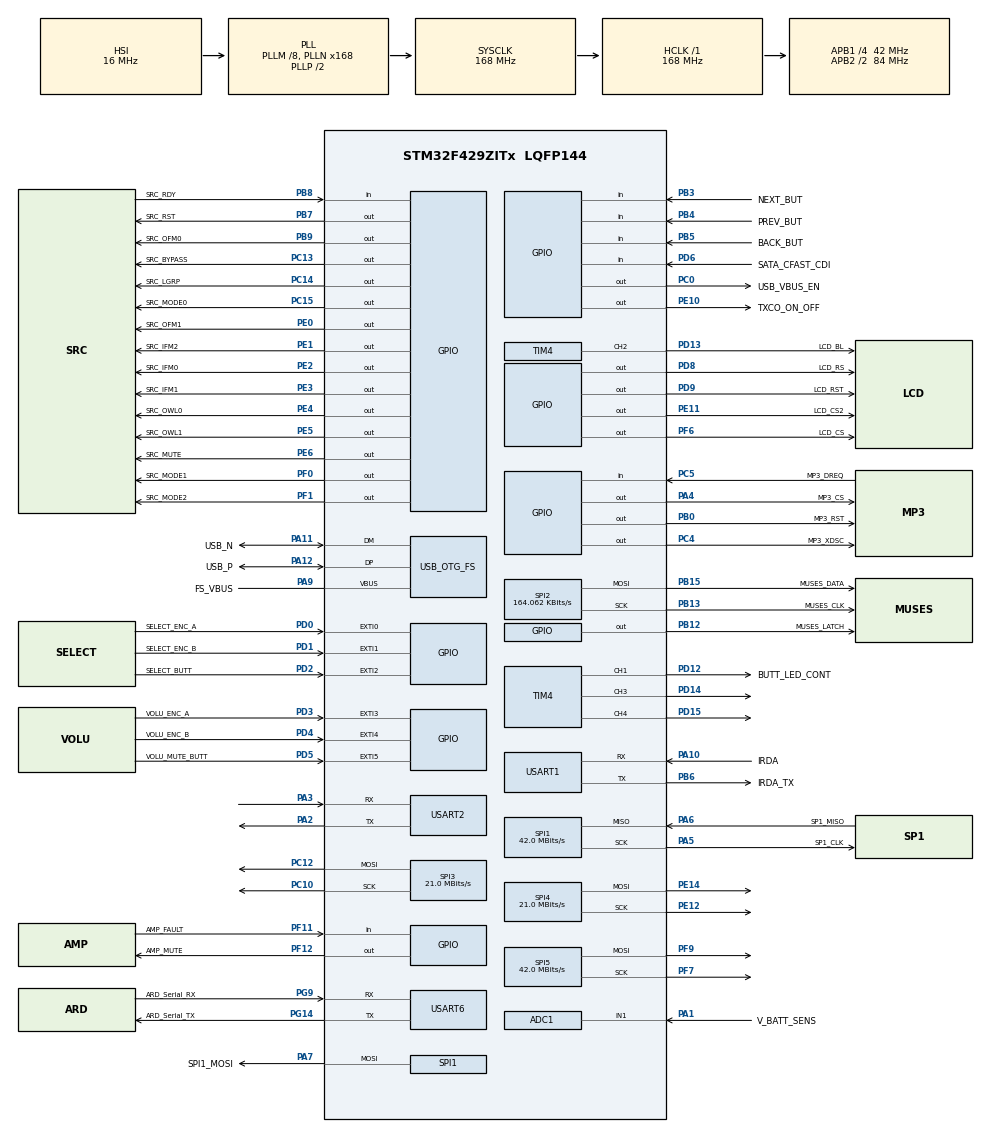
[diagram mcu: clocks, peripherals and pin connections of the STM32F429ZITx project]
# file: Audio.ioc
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ADC1.Channel-0\#ChannelRegularConversion=ADC_CHANNEL_1
ADC1.NbrOfConversionFlag=1
ADC1.Rank-0\#ChannelRegularConversion=1
ADC1.SamplingTime-0\#ChannelRegularConversion=ADC_SAMPLETIME_3CYCLES
ADC1.master=1
FATFS._FS_EXFAT=1
FATFS._MAX_SS=4096
FATFS._USE_LFN=3
FREERTOS.Tasks01=defaultTask,0,2048,StartDefaultTask,Default,NULL,Dynamic,NULL,NULL;lvglTimerTask,0,1024,lvglTimer,Default,NULL,Dynamic,NULL,NULL;lvglTickTask,0,1024,lvglTick,Default,NULL,Dynamic,NULL,NULL
FREERTOS.configCHECK_FOR_STACK_OVERFLOW=0
FREERTOS.configTOTAL_HEAP_SIZE=27000
FREERTOS.configUSE_NEWLIB_REENTRANT=1
FREERTOS.configUSE_TASK_NOTIFICATIONS=1
Mcu.Family=STM32F4
Mcu.Name=STM32F429ZITx
Mcu.Package=LQFP144
NVIC.EXTI0_IRQn=true\:5\:0\:false\:false\:true\:true\:true\:true\:true
NVIC.EXTI1_IRQn=true\:5\:0\:false\:false\:true\:true\:true\:true\:true
NVIC.EXTI2_IRQn=true\:5\:0\:false\:false\:true\:true\:true\:true\:true
NVIC.EXTI3_IRQn=true\:5\:0\:false\:false\:true\:true\:true\:true\:true
NVIC.EXTI4_IRQn=true\:5\:0\:false\:false\:true\:true\:true\:true\:true
NVIC.EXTI9_5_IRQn=true\:5\:0\:false\:false\:true\:true\:true\:true\:true
NVIC.OTG_FS_IRQn=true\:5\:0\:false\:false\:true\:true\:false\:true\:true
NVIC.PriorityGroup=NVIC_PRIORITYGROUP_4
NVIC.TIM1_UP_TIM10_IRQn=true\:15\:0\:false\:false\:true\:false\:false\:true\:true
NVIC.TimeBase=TIM1_UP_TIM10_IRQn
NVIC.TimeBaseIP=TIM1
PA0/WKUP.Mode=SYS_WakeUp0
PA0/WKUP.Signal=SYS_WKUP
PA1.GPIO_Label=V_BATT_SENS
PA1.Signal=ADCx_IN1
PA10.GPIO_Label=IRDA
PA10.Mode=IrDA
PA10.Signal=USART1_RX
PA11.GPIO_Label=USB_N
PA11.Mode=Host_Only
PA11.Signal=USB_OTG_FS_DM
PA12.GPIO_Label=USB_P
PA12.Mode=Host_Only
PA12.Signal=USB_OTG_FS_DP
PA13.GPIO_Label=SWDIO
PA13.Mode=Serial_Wire
PA13.Signal=SYS_JTMS-SWDIO
PA14.GPIO_Label=SWCLK
PA14.Mode=Serial_Wire
PA14.Signal=SYS_JTCK-SWCLK
PA15.GPIO_Label=ST_I2S_LR
PA15.Signal=I2S3_WS
PA2.Mode=Asynchronous
PA2.Signal=USART2_TX
PA3.Mode=Asynchronous
PA3.Signal=USART2_RX
PA4.GPIO_Label=MP3_CS 
PA4.PinState=GPIO_PIN_SET
PA4.Signal=GPIO_Output
PA5.GPIO_Label=SP1_CLK
PA5.Mode=Full_Duplex_Master
PA5.Signal=SPI1_SCK
PA6.GPIO_Label=SP1_MISO
PA6.Mode=Full_Duplex_Master
PA6.Signal=SPI1_MISO
PA7.GPIO_Label=SPI1_MOSI
PA7.Mode=Full_Duplex_Master
PA7.Signal=SPI1_MOSI
PA9.GPIO_Label=FS_VBUS
PA9.Mode=Activate_VBUS
PA9.Signal=USB_OTG_FS_VBUS
PB0.GPIO_Label=MP3_RST
PB0.PinState=GPIO_PIN_SET
PB0.Signal=GPIO_Output
PB12.GPIO_Label=MUSES_LATCH
PB12.PinState=GPIO_PIN_SET
PB12.Signal=GPIO_Output
PB13.GPIO_Label=MUSES_CLK
PB13.Mode=TX_Only_Simplex_Unidirect_Master
PB13.Signal=SPI2_SCK
PB15.GPIO_Label=MUSES_DATA
PB15.Mode=TX_Only_Simplex_Unidirect_Master
PB15.Signal=SPI2_MOSI
PB3.GPIO_Label=NEXT_BUT
PB3.GPIO_PuPd=GPIO_PULLUP
PB3.Signal=GPIO_Input
PB4.GPIO_Label=PREV_BUT
PB4.GPIO_PuPd=GPIO_PULLUP
PB4.Signal=GPIO_Input
PB5.GPIO_Label=BACK_BUT
PB5.GPIO_PuPd=GPIO_PULLUP
PB5.Signal=GPIO_Input
PB6.GPIO_Label=IRDA_TX
PB6.Mode=IrDA
PB6.Signal=USART1_TX
PB7.GPIO_Label=SRC_RST
PB7.PinState=GPIO_PIN_SET
PB7.Signal=GPIO_Output
PB8.GPIO_Label=SRC_RDY
PB8.Signal=GPIO_Input
PB9.GPIO_Label=SRC_OFM0
PB9.Signal=GPIO_Output
PC0.GPIO_Label=USB_VBUS_EN
PC0.Signal=GPIO_Output
PC10.Mode=TX_Only_Simplex_Unidirect_Master
PC10.Signal=SPI3_SCK
PC12.Mode=TX_Only_Simplex_Unidirect_Master
PC12.Signal=SPI3_MOSI
PC13.GPIO_Label=SRC_BYPASS
PC13.Signal=GPIO_Output
PC14/OSC32_IN.GPIO_Label=SRC_LGRP
PC14/OSC32_IN.Signal=GPIO_Output
PC15/OSC32_OUT.GPIO_Label=SRC_MODE0
PC15/OSC32_OUT.Signal=GPIO_Output
PC4.GPIO_Label=MP3_XDSC
PC4.Signal=GPIO_Output
PC5.GPIO_Label=MP3_DREQ
PC5.Signal=GPIO_Input
PD0.GPIO_Label=SELECT_ENC_A
PD0.GPIO_ModeDefaultEXTI=GPIO_MODE_IT_RISING_FALLING
PD0.GPIO_PuPd=GPIO_PULLUP
PD0.Signal=GPXTI0
PD1.GPIO_Label=SELECT_ENC_B
PD1.GPIO_ModeDefaultEXTI=GPIO_MODE_IT_RISING_FALLING
PD1.GPIO_PuPd=GPIO_PULLUP
PD1.Signal=GPXTI1
PD12.GPIO_Label=BUTT_LED_CONT
PD12.Signal=S_TIM4_CH1
PD13.GPIO_Label=LCD_BL
PD13.Signal=S_TIM4_CH2
PD14.Signal=S_TIM4_CH3
PD15.Signal=S_TIM4_CH4
PD2.GPIO_Label=SELECT_BUTT
PD2.GPIO_ModeDefaultEXTI=GPIO_MODE_IT_RISING_FALLING
PD2.GPIO_PuPd=GPIO_PULLUP
PD2.Signal=GPXTI2
PD3.GPIO_Label=VOLU_ENC_A
PD3.GPIO_ModeDefaultEXTI=GPIO_MODE_IT_RISING_FALLING
PD3.GPIO_PuPd=GPIO_PULLUP
PD3.Signal=GPXTI3
PD4.GPIO_Label=VOLU_ENC_B
PD4.GPIO_ModeDefaultEXTI=GPIO_MODE_IT_RISING_FALLING
PD4.GPIO_PuPd=GPIO_PULLUP
PD4.Signal=GPXTI4
PD5.GPIO_Label=VOLU_MUTE_BUTT
PD5.GPIO_ModeDefaultEXTI=GPIO_MODE_IT_RISING_FALLING
PD5.GPIO_PuPd=GPIO_PULLUP
PD5.Signal=GPXTI5
PD6.GPIO_Label=SATA_CFAST_CDI
PD6.Signal=GPIO_Input
PD8.GPIO_Label=LCD_RS
PD8.PinState=GPIO_PIN_SET
PD8.Signal=GPIO_Output
PD9.GPIO_Label=LCD_RST
PD9.PinState=GPIO_PIN_SET
PD9.Signal=GPIO_Output
PE0.GPIO_Label=SRC_OFM1
PE0.Signal=GPIO_Output
PE1.GPIO_Label=SRC_IFM2
PE1.Signal=GPIO_Output
PE10.GPIO_Label=TXCO_ON_OFF
PE10.Signal=GPIO_Output
PE11.GPIO_Label=LCD_CS2
PE11.PinState=GPIO_PIN_SET
PE11.Signal=GPIO_Output
PE12.Mode=TX_Only_Simplex_Unidirect_Master
PE12.Signal=SPI4_SCK
PE14.Mode=TX_Only_Simplex_Unidirect_Master
PE14.Signal=SPI4_MOSI
PE2.GPIO_Label=SRC_IFM0
PE2.Signal=GPIO_Output
PE3.GPIO_Label=SRC_IFM1
PE3.Signal=GPIO_Output
PE4.GPIO_Label=SRC_OWL0
PE4.Signal=GPIO_Output
PE5.GPIO_Label=SRC_OWL1
PE5.Signal=GPIO_Output
PE6.GPIO_Label=SRC_MUTE
PE6.Signal=GPIO_Output
PF0.GPIO_Label=SRC_MODE1
PF0.Signal=GPIO_Output
PF1.GPIO_Label=SRC_MODE2
PF1.Signal=GPIO_Output
PF11.GPIO_Label=AMP_FAULT
PF11.Signal=GPIO_Input
PF12.GPIO_Label=AMP_MUTE
PF12.PinState=GPIO_PIN_SET
PF12.Signal=GPIO_Output
PF6.GPIO_Label=LCD_CS
PF6.PinState=GPIO_PIN_SET
PF6.Signal=GPIO_Output
PF7.Mode=TX_Only_Simplex_Unidirect_Master
PF7.Signal=SPI5_SCK
PF9.Mode=TX_Only_Simplex_Unidirect_Master
PF9.Signal=SPI5_MOSI
PG14.GPIO_Label=ARD_Serial_TX
PG14.Mode=Asynchronous
PG14.Signal=USART6_TX
PG9.GPIO_Label=ARD_Serial_RX
PG9.Mode=Asynchronous
PG9.Signal=USART6_RX
PH0/OSC_IN.Mode=HSE-External-Oscillator
PH0/OSC_IN.Signal=RCC_OSC_IN
PH1/OSC_OUT.Mode=HSE-External-Oscillator
PH1/OSC_OUT.Signal=RCC_OSC_OUT
ProjectManager.HeapSize=0x1000
ProjectManager.StackSize=0x1000
ProjectManager.TargetToolchain=STM32CubeIDE
RCC.48MHZClocksFreq_Value=48000000
RCC.AHBFreq_Value=168000000
RCC.APB1CLKDivider=RCC_HCLK_DIV4
RCC.APB1Freq_Value=42000000
RCC.APB1TimFreq_Value=84000000
RCC.APB2CLKDivider=RCC_HCLK_DIV2
RCC.APB2Freq_Value=84000000
RCC.APB2TimFreq_Value=168000000
RCC.CortexFreq_Value=168000000
RCC.HCLKFreq_Value=168000000
RCC.HSE_VALUE=8000000
RCC.HSI_VALUE=16000000
RCC.LSE_VALUE=32768
RCC.PLLM=8
RCC.PLLMUL=RCC_PLL_MUL9
RCC.PLLN=168
RCC.PLLQ=7
RCC.PLLSource=RCC_PLLSOURCE_HSI
RCC.PRESCALERUSB=RCC_USBCLKSOURCE_PLL_DIV1_5
RCC.SYSCLKFreq_VALUE=168000000
RCC.SYSCLKSource=RCC_SYSCLKSOURCE_PLLCLK
RCC.SYSCLKSourceVirtual=RCC_SYSCLKSOURCE_PLLCLK
RCC.USBFreq_Value=48000000
RCC.VCOOutputFreq_Value=336000000
SH.ADCx_IN1.0=ADC1_IN1,IN1
SH.S_TIM4_CH1.0=TIM4_CH1,PWM Generation1 CH1
SH.S_TIM4_CH2.0=TIM4_CH2,PWM Generation2 CH2
SH.S_TIM4_CH3.0=TIM4_CH3,PWM Generation3 CH3
SH.S_TIM4_CH4.0=TIM4_CH4,PWM Generation4 CH4
SPI1.BaudRatePrescaler=SPI_BAUDRATEPRESCALER_2
SPI1.CalculateBaudRate=42.0 MBits/s
SPI1.Direction=SPI_DIRECTION_2LINES
SPI1.Mode=SPI_MODE_MASTER
SPI1.VirtualType=VM_MASTER
SPI2.BaudRatePrescaler=SPI_BAUDRATEPRESCALER_256
SPI2.CLKPolarity=SPI_POLARITY_HIGH
SPI2.CalculateBaudRate=164.062 KBits/s
SPI2.DataSize=SPI_DATASIZE_16BIT
SPI2.Direction=SPI_DIRECTION_2LINES
SPI2.Mode=SPI_MODE_MASTER
SPI2.VirtualType=VM_MASTER
SPI3.CLKPolarity=SPI_POLARITY_HIGH
SPI3.CalculateBaudRate=21.0 MBits/s
SPI3.Direction=SPI_DIRECTION_2LINES
SPI3.Mode=SPI_MODE_MASTER
SPI3.VirtualType=VM_MASTER
SPI4.BaudRatePrescaler=SPI_BAUDRATEPRESCALER_4
SPI4.CalculateBaudRate=21.0 MBits/s
SPI4.Direction=SPI_DIRECTION_2LINES
SPI4.Mode=SPI_MODE_MASTER
SPI4.VirtualType=VM_MASTER
SPI5.CalculateBaudRate=42.0 MBits/s
SPI5.Direction=SPI_DIRECTION_2LINES
SPI5.Mode=SPI_MODE_MASTER
SPI5.VirtualType=VM_MASTER
TIM4.Channel-PWM\ Generation1\ CH1=TIM_CHANNEL_1
TIM4.Channel-PWM\ Generation2\ CH2=TIM_CHANNEL_2
TIM4.Channel-PWM\ Generation3\ CH3=TIM_CHANNEL_3
TIM4.Channel-PWM\ Generation4\ CH4=TIM_CHANNEL_4
TIM4.OC1Preload_PWM=ENABLE
USART1.VirtualMode=VM_IRDA
USART2.VirtualMode=VM_ASYNC
USART6.VirtualMode=VM_ASYNC
USB_HOST.SW_VBUS_DRIVE_MSC_FS=true
USB_HOST.USBH_HandleTypeDef-MSC_FS=hUsbHostFS
USB_HOST.USBH_PROCESS_STACK_SIZE-MSC_FS=512
USB_HOST.USBH_USE_OS-MSC_FS=0
USB_HOST.VirtualModeFS=Msc
USB_OTG_FS.VirtualMode=Host_Only
USB_OTG_FS.phy_itface=HCD_PHY_EMBEDDED
VP_FATFS_VS_USB.Mode=USB
VP_FREERTOS_VS_CMSIS_V1.Mode=CMSIS_V1
VP_SYS_VS_tim1.Mode=TIM1
VP_TIM4_VS_ClockSourceINT.Mode=Internal
VP_USB_HOST_VS_USB_HOST_MSC_FS.Mode=MSC_FS
board=NUCLEO-F429ZI

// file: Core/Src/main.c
/* USER CODE BEGIN Header */
/**
 ******************************************************************************
 * @file           : main.c
 * @brief          : Main program body
 ******************************************************************************
 * @attention
 *
 * Copyright (c) 2025 STMicroelectronics.
 * All rights reserved.
 *
 * This software is licensed under terms that can be found in the LICENSE file
 * in the root directory of this software component.
 * If no LICENSE file comes with this software, it is provided AS-IS.
 *
 ******************************************************************************
 */
/* USER CODE END Header */
#include "main.h"
#include "cmsis_os.h"
#include "fatfs.h"
#include "usb_host.h"

/* USER CODE BEGIN Includes */
#include "encoder.h"
#include "states.h"
#include "inputs.h"
#include "lvgl.h"
/* USER CODE END Includes */

ADC_HandleTypeDef hadc1;

SPI_HandleTypeDef hspi1;
SPI_HandleTypeDef hspi2;
SPI_HandleTypeDef hspi3;
SPI_HandleTypeDef hspi4;
SPI_HandleTypeDef hspi5;

TIM_HandleTypeDef htim4;

IRDA_HandleTypeDef hirda1;
UART_HandleTypeDef huart2;
UART_HandleTypeDef huart6;

osThreadId defaultTaskHandle;
osThreadId lvglTimerTaskHandle;
osThreadId lvglTickTaskHandle;

void SystemClock_Config(void);
static void MX_GPIO_Init(void);
static void MX_SPI1_Init(void);
static void MX_USART6_UART_Init(void);
static void MX_ADC1_Init(void);
static void MX_SPI2_Init(void);
static void MX_TIM4_Init(void);
static void MX_USART1_IRDA_Init(void);
static void MX_USART2_UART_Init(void);
static void MX_SPI4_Init(void);
static void MX_SPI3_Init(void);
static void MX_SPI5_Init(void);
void StartDefaultTask(void const * argument);
void lvglTimer(void const * argument);
void lvglTick(void const * argument);

int main(void)
{

  /* MCU Configuration--------------------------------------------------------*/

  /* Reset of all peripherals, Initializes the Flash interface and the Systick. */
  HAL_Init();

  /* Configure the system clock */
  SystemClock_Config();

  /* Initialize all configured peripherals */
  MX_GPIO_Init();
  MX_SPI1_Init();
  MX_USART6_UART_Init();
  MX_FATFS_Init();
  MX_ADC1_Init();
  MX_SPI2_Init();
  MX_TIM4_Init();
  MX_USART1_IRDA_Init();
  MX_USART2_UART_Init();
  MX_SPI4_Init();
  MX_SPI3_Init();
  MX_SPI5_Init();

  /* Create the thread(s) */
  /* definition and creation of defaultTask */
  osThreadDef(defaultTask, StartDefaultTask, osPriorityNormal, 0, 2048);
  defaultTaskHandle = osThreadCreate(osThread(defaultTask), NULL);

  /* definition and creation of lvglTimerTask */
  osThreadDef(lvglTimerTask, lvglTimer, osPriorityNormal, 0, 1024);
  lvglTimerTaskHandle = osThreadCreate(osThread(lvglTimerTask), NULL);

  /* definition and creation of lvglTickTask */
  osThreadDef(lvglTickTask, lvglTick, osPriorityNormal, 0, 1024);
  lvglTickTaskHandle = osThreadCreate(osThread(lvglTickTask), NULL);

  /* Start scheduler */
  osKernelStart();

  /* We should never get here as control is now taken by the scheduler */

  /* Infinite loop */
  while (1)
  {

    /* USER CODE BEGIN 3 */

    // Process state machine events

  }
  /* USER CODE END 3 */
}

void SystemClock_Config(void)
{
  RCC_OscInitTypeDef RCC_OscInitStruct = {0};
  RCC_ClkInitTypeDef RCC_ClkInitStruct = {0};

  /** Configure the main internal regulator output voltage
  */
  __HAL_RCC_PWR_CLK_ENABLE();
  __HAL_PWR_VOLTAGESCALING_CONFIG(PWR_REGULATOR_VOLTAGE_SCALE1);

  /** Initializes the RCC Oscillators according to the specified parameters
  * in the RCC_OscInitTypeDef structure.
  */
  RCC_OscInitStruct.OscillatorType = RCC_OSCILLATORTYPE_HSI;
  RCC_OscInitStruct.HSIState = RCC_HSI_ON;
  RCC_OscInitStruct.HSICalibrationValue = RCC_HSICALIBRATION_DEFAULT;
  RCC_OscInitStruct.PLL.PLLState = RCC_PLL_ON;
  RCC_OscInitStruct.PLL.PLLSource = RCC_PLLSOURCE_HSI;
  RCC_OscInitStruct.PLL.PLLM = 8;
  RCC_OscInitStruct.PLL.PLLN = 168;
  RCC_OscInitStruct.PLL.PLLP = RCC_PLLP_DIV2;
  RCC_OscInitStruct.PLL.PLLQ = 7;
  if (HAL_RCC_OscConfig(&RCC_OscInitStruct) != HAL_OK)
  {
    Error_Handler();
  }

  /** Initializes the CPU, AHB and APB buses clocks
  */
  RCC_ClkInitStruct.ClockType = RCC_CLOCKTYPE_HCLK|RCC_CLOCKTYPE_SYSCLK
                              |RCC_CLOCKTYPE_PCLK1|RCC_CLOCKTYPE_PCLK2;
  RCC_ClkInitStruct.SYSCLKSource = RCC_SYSCLKSOURCE_PLLCLK;
  RCC_ClkInitStruct.AHBCLKDivider = RCC_SYSCLK_DIV1;
  RCC_ClkInitStruct.APB1CLKDivider = RCC_HCLK_DIV4;
  RCC_ClkInitStruct.APB2CLKDivider = RCC_HCLK_DIV2;

  if (HAL_RCC_ClockConfig(&RCC_ClkInitStruct, FLASH_LATENCY_5) != HAL_OK)
  {
    Error_Handler();
  }
}

static void MX_ADC1_Init(void)
{

  ADC_ChannelConfTypeDef sConfig = {0};

  /** Configure the global features of the ADC (Clock, Resolution, Data Alignment and number of conversion)
  */
  hadc1.Instance = ADC1;
  hadc1.Init.ClockPrescaler = ADC_CLOCK_SYNC_PCLK_DIV4;
  hadc1.Init.Resolution = ADC_RESOLUTION_12B;
  hadc1.Init.ScanConvMode = DISABLE;
  hadc1.Init.ContinuousConvMode = DISABLE;
  hadc1.Init.DiscontinuousConvMode = DISABLE;
  hadc1.Init.ExternalTrigConvEdge = ADC_EXTERNALTRIGCONVEDGE_NONE;
  hadc1.Init.ExternalTrigConv = ADC_SOFTWARE_START;
  hadc1.Init.DataAlign = ADC_DATAALIGN_RIGHT;
  hadc1.Init.NbrOfConversion = 1;
  hadc1.Init.DMAContinuousRequests = DISABLE;
  hadc1.Init.EOCSelection = ADC_EOC_SINGLE_CONV;
  if (HAL_ADC_Init(&hadc1) != HAL_OK)
  {
    Error_Handler();
  }

  /** Configure for the selected ADC regular channel its corresponding rank in the sequencer and its sample time.
  */
  sConfig.Channel = ADC_CHANNEL_1;
  sConfig.Rank = 1;
  sConfig.SamplingTime = ADC_SAMPLETIME_3CYCLES;
  if (HAL_ADC_ConfigChannel(&hadc1, &sConfig) != HAL_OK)
  {
    Error_Handler();
  }

}

static void MX_SPI1_Init(void)
{

  /* SPI1 parameter configuration*/
  hspi1.Instance = SPI1;
  hspi1.Init.Mode = SPI_MODE_MASTER;
  hspi1.Init.Direction = SPI_DIRECTION_2LINES;
  hspi1.Init.DataSize = SPI_DATASIZE_8BIT;
  hspi1.Init.CLKPolarity = SPI_POLARITY_LOW;
  hspi1.Init.CLKPhase = SPI_PHASE_1EDGE;
  hspi1.Init.NSS = SPI_NSS_SOFT;
  hspi1.Init.BaudRatePrescaler = SPI_BAUDRATEPRESCALER_2;
  hspi1.Init.FirstBit = SPI_FIRSTBIT_MSB;
  hspi1.Init.TIMode = SPI_TIMODE_DISABLE;
  hspi1.Init.CRCCalculation = SPI_CRCCALCULATION_DISABLE;
  hspi1.Init.CRCPolynomial = 10;
  if (HAL_SPI_Init(&hspi1) != HAL_OK)
  {
    Error_Handler();
  }

}

static void MX_SPI2_Init(void)
{

  /* SPI2 parameter configuration*/
  hspi2.Instance = SPI2;
  hspi2.Init.Mode = SPI_MODE_MASTER;
  hspi2.Init.Direction = SPI_DIRECTION_2LINES;
  hspi2.Init.DataSize = SPI_DATASIZE_16BIT;
  hspi2.Init.CLKPolarity = SPI_POLARITY_HIGH;
  hspi2.Init.CLKPhase = SPI_PHASE_1EDGE;
  hspi2.Init.NSS = SPI_NSS_SOFT;
  hspi2.Init.BaudRatePrescaler = SPI_BAUDRATEPRESCALER_256;
  hspi2.Init.FirstBit = SPI_FIRSTBIT_MSB;
  hspi2.Init.TIMode = SPI_TIMODE_DISABLE;
  hspi2.Init.CRCCalculation = SPI_CRCCALCULATION_DISABLE;
  hspi2.Init.CRCPolynomial = 10;
  if (HAL_SPI_Init(&hspi2) != HAL_OK)
  {
    Error_Handler();
  }

}

static void MX_SPI3_Init(void)
{

  /* SPI3 parameter configuration*/
  hspi3.Instance = SPI3;
  hspi3.Init.Mode = SPI_MODE_MASTER;
  hspi3.Init.Direction = SPI_DIRECTION_2LINES;
  hspi3.Init.DataSize = SPI_DATASIZE_8BIT;
  hspi3.Init.CLKPolarity = SPI_POLARITY_HIGH;
  hspi3.Init.CLKPhase = SPI_PHASE_1EDGE;
  hspi3.Init.NSS = SPI_NSS_SOFT;
  hspi3.Init.BaudRatePrescaler = SPI_BAUDRATEPRESCALER_2;
  hspi3.Init.FirstBit = SPI_FIRSTBIT_MSB;
  hspi3.Init.TIMode = SPI_TIMODE_DISABLE;
  hspi3.Init.CRCCalculation = SPI_CRCCALCULATION_DISABLE;
  hspi3.Init.CRCPolynomial = 10;
  if (HAL_SPI_Init(&hspi3) != HAL_OK)
  {
    Error_Handler();
  }

}

static void MX_SPI4_Init(void)
{

  /* SPI4 parameter configuration*/
  hspi4.Instance = SPI4;
  hspi4.Init.Mode = SPI_MODE_MASTER;
  hspi4.Init.Direction = SPI_DIRECTION_2LINES;
  hspi4.Init.DataSize = SPI_DATASIZE_8BIT;
  hspi4.Init.CLKPolarity = SPI_POLARITY_LOW;
  hspi4.Init.CLKPhase = SPI_PHASE_1EDGE;
  hspi4.Init.NSS = SPI_NSS_SOFT;
  hspi4.Init.BaudRatePrescaler = SPI_BAUDRATEPRESCALER_4;
  hspi4.Init.FirstBit = SPI_FIRSTBIT_MSB;
  hspi4.Init.TIMode = SPI_TIMODE_DISABLE;
  hspi4.Init.CRCCalculation = SPI_CRCCALCULATION_DISABLE;
  hspi4.Init.CRCPolynomial = 10;
  if (HAL_SPI_Init(&hspi4) != HAL_OK)
  {
    Error_Handler();
  }

}

static void MX_SPI5_Init(void)
{

  /* SPI5 parameter configuration*/
  hspi5.Instance = SPI5;
  hspi5.Init.Mode = SPI_MODE_MASTER;
  hspi5.Init.Direction = SPI_DIRECTION_2LINES;
  hspi5.Init.DataSize = SPI_DATASIZE_8BIT;
  hspi5.Init.CLKPolarity = SPI_POLARITY_LOW;
  hspi5.Init.CLKPhase = SPI_PHASE_1EDGE;
  hspi5.Init.NSS = SPI_NSS_SOFT;
  hspi5.Init.BaudRatePrescaler = SPI_BAUDRATEPRESCALER_2;
  hspi5.Init.FirstBit = SPI_FIRSTBIT_MSB;
  hspi5.Init.TIMode = SPI_TIMODE_DISABLE;
  hspi5.Init.CRCCalculation = SPI_CRCCALCULATION_DISABLE;
  hspi5.Init.CRCPolynomial = 10;
  if (HAL_SPI_Init(&hspi5) != HAL_OK)
  {
    Error_Handler();
  }

}

static void MX_TIM4_Init(void)
{

  TIM_ClockConfigTypeDef sClockSourceConfig = {0};
  TIM_MasterConfigTypeDef sMasterConfig = {0};
  TIM_OC_InitTypeDef sConfigOC = {0};

  htim4.Instance = TIM4;
  htim4.Init.Prescaler = 0;
  htim4.Init.CounterMode = TIM_COUNTERMODE_UP;
  htim4.Init.Period = 65535;
  htim4.Init.ClockDivision = TIM_CLOCKDIVISION_DIV1;
  htim4.Init.AutoReloadPreload = TIM_AUTORELOAD_PRELOAD_DISABLE;
  if (HAL_TIM_Base_Init(&htim4) != HAL_OK)
  {
    Error_Handler();
  }
  sClockSourceConfig.ClockSource = TIM_CLOCKSOURCE_INTERNAL;
  if (HAL_TIM_ConfigClockSource(&htim4, &sClockSourceConfig) != HAL_OK)
  {
    Error_Handler();
  }
  if (HAL_TIM_PWM_Init(&htim4) != HAL_OK)
  {
    Error_Handler();
  }
  sMasterConfig.MasterOutputTrigger = TIM_TRGO_RESET;
  sMasterConfig.MasterSlaveMode = TIM_MASTERSLAVEMODE_DISABLE;
  if (HAL_TIMEx_MasterConfigSynchronization(&htim4, &sMasterConfig) != HAL_OK)
  {
    Error_Handler();
  }
  sConfigOC.OCMode = TIM_OCMODE_PWM1;
  sConfigOC.Pulse = 0;
  sConfigOC.OCPolarity = TIM_OCPOLARITY_HIGH;
  sConfigOC.OCFastMode = TIM_OCFAST_DISABLE;
  if (HAL_TIM_PWM_ConfigChannel(&htim4, &sConfigOC, TIM_CHANNEL_1) != HAL_OK)
  {
    Error_Handler();
  }
  if (HAL_TIM_PWM_ConfigChannel(&htim4, &sConfigOC, TIM_CHANNEL_2) != HAL_OK)
  {
    Error_Handler();
  }
  if (HAL_TIM_PWM_ConfigChannel(&htim4, &sConfigOC, TIM_CHANNEL_3) != HAL_OK)
  {
    Error_Handler();
  }
  if (HAL_TIM_PWM_ConfigChannel(&htim4, &sConfigOC, TIM_CHANNEL_4) != HAL_OK)
  {
    Error_Handler();
  }
  HAL_TIM_MspPostInit(&htim4);

}

static void MX_USART1_IRDA_Init(void)
{

  hirda1.Instance = USART1;
  hirda1.Init.BaudRate = 115200;
  hirda1.Init.WordLength = IRDA_WORDLENGTH_8B;
  hirda1.Init.Parity = IRDA_PARITY_NONE;
  hirda1.Init.Mode = IRDA_MODE_TX_RX;
  hirda1.Init.Prescaler = 1;
  hirda1.Init.IrDAMode = IRDA_POWERMODE_NORMAL;
  if (HAL_IRDA_Init(&hirda1) != HAL_OK)
  {
    Error_Handler();
  }

}

static void MX_USART2_UART_Init(void)
{

  huart2.Instance = USART2;
  huart2.Init.BaudRate = 115200;
  huart2.Init.WordLength = UART_WORDLENGTH_8B;
  huart2.Init.StopBits = UART_STOPBITS_1;
  huart2.Init.Parity = UART_PARITY_NONE;
  huart2.Init.Mode = UART_MODE_TX_RX;
  huart2.Init.HwFlowCtl = UART_HWCONTROL_NONE;
  huart2.Init.OverSampling = UART_OVERSAMPLING_16;
  if (HAL_UART_Init(&huart2) != HAL_OK)
  {
    Error_Handler();
  }

}

static void MX_USART6_UART_Init(void)
{

  huart6.Instance = USART6;
  huart6.Init.BaudRate = 115200;
  huart6.Init.WordLength = UART_WORDLENGTH_8B;
  huart6.Init.StopBits = UART_STOPBITS_1;
  huart6.Init.Parity = UART_PARITY_NONE;
  huart6.Init.Mode = UART_MODE_TX_RX;
  huart6.Init.HwFlowCtl = UART_HWCONTROL_NONE;
  huart6.Init.OverSampling = UART_OVERSAMPLING_16;
  if (HAL_UART_Init(&huart6) != HAL_OK)
  {
    Error_Handler();
  }

}

static void MX_GPIO_Init(void)
{
  GPIO_InitTypeDef GPIO_InitStruct = {0};

  /* GPIO Ports Clock Enable */
  __HAL_RCC_GPIOE_CLK_ENABLE();
  __HAL_RCC_GPIOC_CLK_ENABLE();
  __HAL_RCC_GPIOF_CLK_ENABLE();
  __HAL_RCC_GPIOH_CLK_ENABLE();
  __HAL_RCC_GPIOA_CLK_ENABLE();
  __HAL_RCC_GPIOB_CLK_ENABLE();
  __HAL_RCC_GPIOD_CLK_ENABLE();
  __HAL_RCC_GPIOG_CLK_ENABLE();

  /*Configure GPIO pin Output Level */
  HAL_GPIO_WritePin(GPIOE, SRC_IFM0_Pin|SRC_IFM1_Pin|SRC_OWL0_Pin|SRC_OWL1_Pin
                          |SRC_MUTE_Pin|TXCO_ON_OFF_Pin|SRC_OFM1_Pin|SRC_IFM2_Pin, GPIO_PIN_RESET);

  /*Configure GPIO pin Output Level */
  HAL_GPIO_WritePin(GPIOC, SRC_BYPASS_Pin|SRC_LGRP_Pin|SRC_MODE0_Pin|USB_VBUS_EN_Pin
                          |MP3_XDSC_Pin, GPIO_PIN_RESET);

  /*Configure GPIO pin Output Level */
  HAL_GPIO_WritePin(GPIOF, SRC_MODE1_Pin|SRC_MODE2_Pin, GPIO_PIN_RESET);

  /*Configure GPIO pin Output Level */
  HAL_GPIO_WritePin(GPIOF, LCD_CS_Pin|AMP_MUTE_Pin, GPIO_PIN_SET);

  /*Configure GPIO pin Output Level */
  HAL_GPIO_WritePin(MP3_CS_GPIO_Port, MP3_CS_Pin, GPIO_PIN_SET);

  /*Configure GPIO pin Output Level */
  HAL_GPIO_WritePin(GPIOB, MP3_RST_Pin|MUSES_LATCH_Pin|SRC_RST_Pin, GPIO_PIN_SET);

  /*Configure GPIO pin Output Level */
  HAL_GPIO_WritePin(LCD_CS2_GPIO_Port, LCD_CS2_Pin, GPIO_PIN_SET);

  /*Configure GPIO pin Output Level */
  HAL_GPIO_WritePin(GPIOD, LCD_RS_Pin|LCD_RST_Pin, GPIO_PIN_SET);

  /*Configure GPIO pin Output Level */
  HAL_GPIO_WritePin(SRC_OFM0_GPIO_Port, SRC_OFM0_Pin, GPIO_PIN_RESET);

  /*Configure GPIO pins : SRC_IFM0_Pin SRC_IFM1_Pin SRC_OWL0_Pin SRC_OWL1_Pin
                           SRC_MUTE_Pin TXCO_ON_OFF_Pin LCD_CS2_Pin SRC_OFM1_Pin
                           SRC_IFM2_Pin */
  GPIO_InitStruct.Pin = SRC_IFM0_Pin|SRC_IFM1_Pin|SRC_OWL0_Pin|SRC_OWL1_Pin
                          |SRC_MUTE_Pin|TXCO_ON_OFF_Pin|LCD_CS2_Pin|SRC_OFM1_Pin
                          |SRC_IFM2_Pin;
  GPIO_InitStruct.Mode = GPIO_MODE_OUTPUT_PP;
  GPIO_InitStruct.Pull = GPIO_NOPULL;
  GPIO_InitStruct.Speed = GPIO_SPEED_FREQ_LOW;
  HAL_GPIO_Init(GPIOE, &GPIO_InitStruct);

  /*Configure GPIO pins : SRC_BYPASS_Pin SRC_LGRP_Pin SRC_MODE0_Pin USB_VBUS_EN_Pin
                           MP3_XDSC_Pin */
  GPIO_InitStruct.Pin = SRC_BYPASS_Pin|SRC_LGRP_Pin|SRC_MODE0_Pin|USB_VBUS_EN_Pin
                          |MP3_XDSC_Pin;
  GPIO_InitStruct.Mode = GPIO_MODE_OUTPUT_PP;
  GPIO_InitStruct.Pull = GPIO_NOPULL;
  GPIO_InitStruct.Speed = GPIO_SPEED_FREQ_LOW;
  HAL_GPIO_Init(GPIOC, &GPIO_InitStruct);

  /*Configure GPIO pins : SRC_MODE1_Pin SRC_MODE2_Pin LCD_CS_Pin AMP_MUTE_Pin */
  GPIO_InitStruct.Pin = SRC_MODE1_Pin|SRC_MODE2_Pin|LCD_CS_Pin|AMP_MUTE_Pin;
  GPIO_InitStruct.Mode = GPIO_MODE_OUTPUT_PP;
  GPIO_InitStruct.Pull = GPIO_NOPULL;
  GPIO_InitStruct.Speed = GPIO_SPEED_FREQ_LOW;
  HAL_GPIO_Init(GPIOF, &GPIO_InitStruct);

  /*Configure GPIO pin : MP3_CS_Pin */
  GPIO_InitStruct.Pin = MP3_CS_Pin;
  GPIO_InitStruct.Mode = GPIO_MODE_OUTPUT_PP;
  GPIO_InitStruct.Pull = GPIO_NOPULL;
  GPIO_InitStruct.Speed = GPIO_SPEED_FREQ_LOW;
  HAL_GPIO_Init(MP3_CS_GPIO_Port, &GPIO_InitStruct);

  /*Configure GPIO pin : MP3_DREQ_Pin */
  GPIO_InitStruct.Pin = MP3_DREQ_Pin;
  GPIO_InitStruct.Mode = GPIO_MODE_INPUT;
  GPIO_InitStruct.Pull = GPIO_NOPULL;
  HAL_GPIO_Init(MP3_DREQ_GPIO_Port, &GPIO_InitStruct);

  /*Configure GPIO pins : MP3_RST_Pin MUSES_LATCH_Pin SRC_RST_Pin SRC_OFM0_Pin */
  GPIO_InitStruct.Pin = MP3_RST_Pin|MUSES_LATCH_Pin|SRC_RST_Pin|SRC_OFM0_Pin;
  GPIO_InitStruct.Mode = GPIO_MODE_OUTPUT_PP;
  GPIO_InitStruct.Pull = GPIO_NOPULL;
  GPIO_InitStruct.Speed = GPIO_SPEED_FREQ_LOW;
  HAL_GPIO_Init(GPIOB, &GPIO_InitStruct);

  /*Configure GPIO pin : AMP_FAULT_Pin */
  GPIO_InitStruct.Pin = AMP_FAULT_Pin;
  GPIO_InitStruct.Mode = GPIO_MODE_INPUT;
  GPIO_InitStruct.Pull = GPIO_NOPULL;
  HAL_GPIO_Init(AMP_FAULT_GPIO_Port, &GPIO_InitStruct);

  /*Configure GPIO pins : LCD_RS_Pin LCD_RST_Pin */
  GPIO_InitStruct.Pin = LCD_RS_Pin|LCD_RST_Pin;
  GPIO_InitStruct.Mode = GPIO_MODE_OUTPUT_PP;
  GPIO_InitStruct.Pull = GPIO_NOPULL;
  GPIO_InitStruct.Speed = GPIO_SPEED_FREQ_LOW;
  HAL_GPIO_Init(GPIOD, &GPIO_InitStruct);

  /*Configure GPIO pin : ST_I2S_LR_Pin */
  GPIO_InitStruct.Pin = ST_I2S_LR_Pin;
  GPIO_InitStruct.Mode = GPIO_MODE_AF_PP;
  GPIO_InitStruct.Pull = GPIO_NOPULL;
  GPIO_InitStruct.Speed = GPIO_SPEED_FREQ_LOW;
  GPIO_InitStruct.Alternate = GPIO_AF6_SPI3;
  HAL_GPIO_Init(ST_I2S_LR_GPIO_Port, &GPIO_InitStruct);

  /*Configure GPIO pins : SELECT_ENC_A_Pin SELECT_ENC_B_Pin SELECT_BUTT_Pin VOLU_ENC_A_Pin
                           VOLU_ENC_B_Pin VOLU_MUTE_BUTT_Pin */
  GPIO_InitStruct.Pin = SELECT_ENC_A_Pin|SELECT_ENC_B_Pin|SELECT_BUTT_Pin|VOLU_ENC_A_Pin
                          |VOLU_ENC_B_Pin|VOLU_MUTE_BUTT_Pin;
  GPIO_InitStruct.Mode = GPIO_MODE_IT_RISING_FALLING;
  GPIO_InitStruct.Pull = GPIO_PULLUP;
  HAL_GPIO_Init(GPIOD, &GPIO_InitStruct);

  /*Configure GPIO pin : SATA_CFAST_CDI_Pin */
  GPIO_InitStruct.Pin = SATA_CFAST_CDI_Pin;
  GPIO_InitStruct.Mode = GPIO_MODE_INPUT;
  GPIO_InitStruct.Pull = GPIO_NOPULL;
  HAL_GPIO_Init(SATA_CFAST_CDI_GPIO_Port, &GPIO_InitStruct);

  /*Configure GPIO pins : NEXT_BUT_Pin PREV_BUT_Pin BACK_BUT_Pin */
  GPIO_InitStruct.Pin = NEXT_BUT_Pin|PREV_BUT_Pin|BACK_BUT_Pin;
  GPIO_InitStruct.Mode = GPIO_MODE_INPUT;
  GPIO_InitStruct.Pull = GPIO_PULLUP;
  HAL_GPIO_Init(GPIOB, &GPIO_InitStruct);

  /*Configure GPIO pin : SRC_RDY_Pin */
  GPIO_InitStruct.Pin = SRC_RDY_Pin;
  GPIO_InitStruct.Mode = GPIO_MODE_INPUT;
  GPIO_InitStruct.Pull = GPIO_NOPULL;
  HAL_GPIO_Init(SRC_RDY_GPIO_Port, &GPIO_InitStruct);

  /* EXTI interrupt init*/
  HAL_NVIC_SetPriority(EXTI0_IRQn, 5, 0);
  HAL_NVIC_EnableIRQ(EXTI0_IRQn);

  HAL_NVIC_SetPriority(EXTI1_IRQn, 5, 0);
  HAL_NVIC_EnableIRQ(EXTI1_IRQn);

  HAL_NVIC_SetPriority(EXTI2_IRQn, 5, 0);
  HAL_NVIC_EnableIRQ(EXTI2_IRQn);

  HAL_NVIC_SetPriority(EXTI3_IRQn, 5, 0);
  HAL_NVIC_EnableIRQ(EXTI3_IRQn);

  HAL_NVIC_SetPriority(EXTI4_IRQn, 5, 0);
  HAL_NVIC_EnableIRQ(EXTI4_IRQn);

  HAL_NVIC_SetPriority(EXTI9_5_IRQn, 5, 0);
  HAL_NVIC_EnableIRQ(EXTI9_5_IRQn);

}

void StartDefaultTask(void const * argument)
{
  /* init code for USB_HOST */
  MX_USB_HOST_Init();
  /* USER CODE BEGIN 5 */
  sm_result_t result = states_init(&sm_ctx, &sys_ctx);
  assert_param(result == SM_OK);
  /* Infinite loop */
  for(;;)
  {
	  inputs_handle();
	  sm_process_event(&sm_ctx);
	  osDelay(10);
  }
  /* USER CODE END 5 */
}

void lvglTimer(void const * argument)
{
  /* USER CODE BEGIN lvglTimer */
  /* Infinite loop */
  for(;;)
  {
	  lv_timer_handler();
	  osDelay(20);
  }
  /* USER CODE END lvglTimer */
}

void lvglTick(void const * argument)
{
  /* USER CODE BEGIN lvglTick */
  /* Infinite loop */
  for(;;)
  {
	  lv_tick_inc(10);
    osDelay(10);
  }
  /* USER CODE END lvglTick */
}

void HAL_TIM_PeriodElapsedCallback(TIM_HandleTypeDef *htim)
{
  if (htim->Instance == TIM1)
  {
    HAL_IncTick();
  }
}

void Error_Handler(void)
{
  __disable_irq();
  while (1)
  {
  }
}

#ifdef  USE_FULL_ASSERT
/**
  * @brief  Reports the name of the source file and the source line number
  *         where the assert_param error has occurred.
  * @param  file: pointer to the source file name
  * @param  line: assert_param error line source number
  * @retval None
  */
void assert_failed(uint8_t *file, uint32_t line)
{
  /* USER CODE BEGIN 6 */
  /* User can add his own implementation to report the file name and line number,
     ex: printf("Wrong parameters value: file %s on line %d\r\n", file, line) */
 printf("Wrong parameters value: file %s on line %ld\r\n", file, line);
  /* Infinite loop */
  while (1);
  /* USER CODE END 6 */
}
#endif /* USE_FULL_ASSERT */
